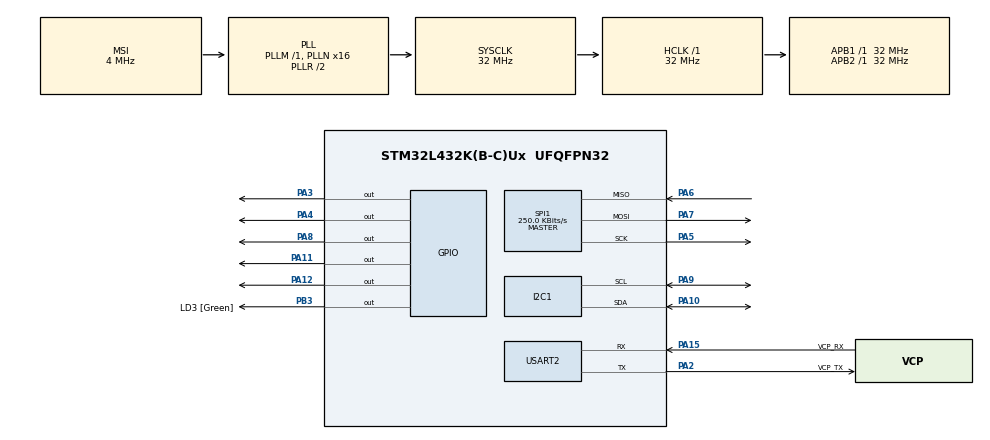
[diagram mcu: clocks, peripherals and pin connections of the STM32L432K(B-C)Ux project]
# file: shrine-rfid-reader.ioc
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I2C1.Timing=0x00B07CB4
Mcu.Family=STM32L4
Mcu.Name=STM32L432K(B-C)Ux
Mcu.Package=UFQFPN32
NVIC.I2C1_ER_IRQn=true\:0\:0\:false\:false\:true\:true\:true\:true
NVIC.I2C1_EV_IRQn=true\:0\:0\:false\:false\:true\:true\:true\:true
NVIC.PriorityGroup=NVIC_PRIORITYGROUP_4
PA0.GPIO_Label=MCO [High speed clock in]
PA0.Mode=HSE-External-Clock-Source-for-LittleOrca
PA0.Signal=RCC_CK_IN
PA10.Mode=I2C
PA10.Signal=I2C1_SDA
PA11.Signal=GPIO_Output
PA12.Signal=GPIO_Output
PA13\ (JTMS-SWDIO).GPIO_Label=SWDIO
PA13\ (JTMS-SWDIO).Mode=Serial_Wire
PA13\ (JTMS-SWDIO).Signal=SYS_JTMS-SWDIO
PA14\ (JTCK-SWCLK).GPIO_Label=SWCLK
PA14\ (JTCK-SWCLK).Mode=Serial_Wire
PA14\ (JTCK-SWCLK).Signal=SYS_JTCK-SWCLK
PA15\ (JTDI).GPIO_Label=VCP_RX
PA15\ (JTDI).Mode=Asynchronous
PA15\ (JTDI).Signal=USART2_RX
PA2.GPIO_Label=VCP_TX
PA2.Mode=Asynchronous
PA2.Signal=USART2_TX
PA3.Signal=GPIO_Output
PA4.Signal=GPIO_Output
PA5.Mode=Full_Duplex_Master
PA5.Signal=SPI1_SCK
PA6.Mode=Full_Duplex_Master
PA6.Signal=SPI1_MISO
PA7.Mode=Full_Duplex_Master
PA7.Signal=SPI1_MOSI
PA8.Signal=GPIO_Output
PA9.Mode=I2C
PA9.Signal=I2C1_SCL
PB3\ (JTDO-TRACESWO).GPIO_Label=LD3 [Green]
PB3\ (JTDO-TRACESWO).Signal=GPIO_Output
PC14-OSC32_IN\ (PC14).Mode=LSE-External-Oscillator
PC14-OSC32_IN\ (PC14).Signal=RCC_OSC32_IN
PC15-OSC32_OUT\ (PC15).Mode=LSE-External-Oscillator
PC15-OSC32_OUT\ (PC15).Signal=RCC_OSC32_OUT
ProjectManager.HeapSize=0x200
ProjectManager.StackSize=0x400
ProjectManager.TargetToolchain=STM32CubeIDE
RCC.AHBFreq_Value=32000000
RCC.APB1Freq_Value=32000000
RCC.APB1TimFreq_Value=32000000
RCC.APB2Freq_Value=32000000
RCC.APB2TimFreq_Value=32000000
RCC.CortexFreq_Value=32000000
RCC.HCLKFreq_Value=32000000
RCC.HSE_VALUE=8000000
RCC.HSI16_VALUE=16000000
RCC.HSI48_VALUE=48000000
RCC.HSI_VALUE=16000000
RCC.MSI_VALUE=4000000
RCC.PLLMUL=RCC_PLLMUL_4
RCC.PLLN=16
RCC.SYSCLKFreq_VALUE=32000000
RCC.SYSCLKSource=RCC_SYSCLKSOURCE_PLLCLK
RCC.VCOOutputFreq_Value=64000000
SPI1.BaudRatePrescaler=SPI_BAUDRATEPRESCALER_128
SPI1.CRCCalculation=SPI_CRCCALCULATION_DISABLE
SPI1.CalculateBaudRate=250.0 KBits/s
SPI1.DataSize=SPI_DATASIZE_8BIT
SPI1.Direction=SPI_DIRECTION_2LINES
SPI1.Mode=SPI_MODE_MASTER
SPI1.NSSPMode=SPI_NSS_PULSE_ENABLE
SPI1.VirtualType=VM_MASTER
USART2.VirtualMode-Asynchronous=VM_ASYNC
board=NUCLEO-L432KC

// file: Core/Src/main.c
/* USER CODE BEGIN Header */
/**
  ******************************************************************************
  * @file           : main.c
  * @brief          : Main program body
  ******************************************************************************
  * @attention
  *
  * Copyright (c) 2026 STMicroelectronics.
  * All rights reserved.
  *
  * This software is licensed under terms that can be found in the LICENSE file
  * in the root directory of this software component.
  * If no LICENSE file comes with this software, it is provided AS-IS.
  *
  ******************************************************************************
  */
/* USER CODE END Header */
#include "main.h"

/* USER CODE BEGIN Includes */
#include <string.h>
#include <stdarg.h>
#include <stdio.h>
#include "driver_mfrc522_basic.h"
#include "driver_mfrc522_interface.h"
#include "valhalla_tag.h"
#include "valhalla_led_i2c.h"

/* USER CODE END Includes */

/* USER CODE BEGIN PD */
#define MSG_MAX 256
/*
 * Optional readers 1..3: same SPI1, separate CS. Define before build, e.g. in flags:
 *   -DRC522_READER1_CS_PORT=GPIOB -DRC522_READER1_CS_PIN=GPIO_PIN_0
 * Or add #define lines below. Port NULL = slot unused.
 */

//  #define RC522_READER1_CS_PORT GPIOA
//  #define RC522_READER1_CS_PIN GPIO_PIN_3

#ifndef RC522_READER0_CS_PORT
#define RC522_READER0_CS_PORT GPIOA
#endif
#ifndef RC522_READER0_CS_PIN
#define RC522_READER0_CS_PIN GPIO_PIN_3
#endif

#ifndef RC522_READER1_CS_PORT
#define RC522_READER1_CS_PORT GPIOA
#endif
#ifndef RC522_READER1_CS_PIN
#define RC522_READER1_CS_PIN GPIO_PIN_4
#endif

#ifndef RC522_READER2_CS_PORT
#define RC522_READER2_CS_PORT GPIOA
#endif
#ifndef RC522_READER2_CS_PIN
#define RC522_READER2_CS_PIN GPIO_PIN_11
#endif

#ifndef RC522_READER3_CS_PORT
#define RC522_READER3_CS_PORT GPIOA
#endif
#ifndef RC522_READER3_CS_PIN
#define RC522_READER3_CS_PIN GPIO_PIN_12
#endif

/* User TLV area (page 4+); MF READ returns 16 bytes (4 pages) per command */
#define NTAG_USER_READ_MAX_BYTES 256U
#define NTAG_TEXT_OUT_MAX        240U
/* Last page address that can start a 4-page read (252..255) */
#define NTAG_LAST_READ_START_PAGE 252U
/* Valhalla scan result: typedef in valhalla_tag.h (must match LED I2C slave). */

typedef struct
{
  uint8_t index;
  GPIO_TypeDef *cs_port;
  uint16_t cs_pin;
  uint8_t present;
  uint32_t scan_count;
  uint32_t scan_ok_count;
} rc522_device_t;
/* USER CODE END PD */

I2C_HandleTypeDef hi2c1;

SPI_HandleTypeDef hspi1;

UART_HandleTypeDef huart2;

/* USER CODE BEGIN PV */

char msg[MSG_MAX];
static uint8_t s_rc522_log_reader = 0xFFU;
static rc522_device_t s_rc522_devices[MFRC522_INTERFACE_MAX_DEVICES];
/* Last Valhalla tag per reader index; cleared when that reader's scan fails. */
static valhallaTag s_last_valhalla_tag_by_board[MFRC522_INTERFACE_MAX_DEVICES];

/* USER CODE END PV */

void SystemClock_Config(void);
static void MX_GPIO_Init(void);
static void MX_SPI1_Init(void);
static void MX_USART2_UART_Init(void);
static void MX_I2C1_Init(void);
/* USER CODE BEGIN PFP */

uint8_t readATQA_then_halt(void);

uint8_t readNTAGPage(uint8_t page, uint8_t *buf, uint8_t *out_len);

/* USER CODE END PFP */

/* USER CODE BEGIN 0 */

static uint8_t rc522_boards_register_all(void);
static rc522_device_t *rc522_find_first_present_device(void);
static uint8_t rc522_select(rc522_device_t *dev);
static void rc522_log_reader_clear(void);
static uint8_t rc522_scan(rc522_device_t *dev, valhallaTag *out_tag);
static uint8_t scanValhallaTag(valhallaTag *out_tag);
static void scan_success_ld3_pulse_trigger(void);
static void main_debug_vprint_with_device_id(int showDeviceId, const char *const fmt, va_list args);

void main_debug_print(const char *const fmt, ...)
{
  va_list args;

  va_start(args, fmt);
  main_debug_vprint_with_device_id(1, fmt, args);
  va_end(args);
}

void main_debug_print_with_device_id(int showDeviceId, const char *const fmt, ...)
{
  va_list args;

  va_start(args, fmt);
  main_debug_vprint_with_device_id(showDeviceId, fmt, args);
  va_end(args);
}

static void main_debug_vprint_with_device_id(int showDeviceId, const char *const fmt, va_list args)
{
#ifndef NO_DEBUG_MAIN
    char str[256];
    uint16_t len;
    int off = 0;

    memset((char *)str, 0, sizeof(char) * 256);
    if (s_rc522_log_reader != 0xFFU && showDeviceId == 1)
    {
        off = snprintf(str, sizeof(str), "[R%u] ", (unsigned int)s_rc522_log_reader);
        if (off < 0)
        {
            off = 0;
        }
        if (off >= (int)sizeof(str))
        {
            off = (int)sizeof(str) - 1;
        }
    }

    (void)vsnprintf((char *)str + off, sizeof(str) - (size_t)off, (char const *)fmt, args);

    len = (uint16_t)strlen((char *)str);

    if (HAL_UART_Transmit(&huart2, (uint8_t *)str, len, MAIN_DEBUG_UART_TX_TIMEOUT_MS) != HAL_OK)
    {
      (void)HAL_UART_AbortTransmit(&huart2);
    }
#endif

}

void main_debug_print_hex(const uint8_t *buf, uint16_t len)
{
    uint16_t i;
    for (i = 0; i < len; i++)
    {
      main_debug_print_with_device_id(0, "0x%02X ", buf[i]);
    }
}

static uint8_t rc522_boards_register_all(void)
{
    static const struct
    {
        GPIO_TypeDef *cs_port;
        uint16_t cs_pin;
    } cs_table[MFRC522_INTERFACE_MAX_DEVICES] = {
        { RC522_READER0_CS_PORT, RC522_READER0_CS_PIN },
        { RC522_READER1_CS_PORT, RC522_READER1_CS_PIN },
        { RC522_READER2_CS_PORT, RC522_READER2_CS_PIN },
        { RC522_READER3_CS_PORT, RC522_READER3_CS_PIN },
    };
    uint8_t i;

    memset(s_rc522_devices, 0, sizeof(s_rc522_devices));

    for (i = 0U; i < MFRC522_INTERFACE_MAX_DEVICES; i++)
    {
        s_rc522_devices[i].index = i;
        s_rc522_devices[i].cs_port = cs_table[i].cs_port;
        s_rc522_devices[i].cs_pin = cs_table[i].cs_pin;

        if (cs_table[i].cs_port == NULL)
        {
            continue;
        }
        if (mfrc522_interface_spi_register_device(i, cs_table[i].cs_port, cs_table[i].cs_pin) != 0)
        {
            main_debug_print("main: rc522_boards_register_all: register reader %u failed.\r\n", i);
            return 1;
        }
        s_rc522_devices[i].present = 1U;
        main_debug_print("main: rc522_boards_register_all: reader %u CS registered.\r\n", i);
    }

    /* After registration, force all configured CS pins high (all readers deselected). */
    for (i = 0U; i < MFRC522_INTERFACE_MAX_DEVICES; i++)
    {
        if (s_rc522_devices[i].present == 0U)
        {
            continue;
        }
        HAL_GPIO_WritePin(cs_table[i].cs_port, cs_table[i].cs_pin, GPIO_PIN_SET);
    }
    main_debug_print("main: rc522_boards_register_all: all configured CS pins set high.\r\n");

    return 0;
}

static rc522_device_t *rc522_find_first_present_device(void)
{
    uint8_t i;

    for (i = 0U; i < MFRC522_INTERFACE_MAX_DEVICES; i++)
    {
        if (s_rc522_devices[i].present != 0U)
        {
            return &s_rc522_devices[i];
        }
    }

    return NULL;
}

static uint8_t rc522_select(rc522_device_t *dev)
{
    if (dev == NULL || dev->index >= MFRC522_INTERFACE_MAX_DEVICES || dev->present == 0U)
    {
        return 1;
    }
    if (mfrc522_interface_spi_select_device(dev->index) != 0)
    {
        return 1;
    }
    s_rc522_log_reader = dev->index;
    return 0;
}

static void rc522_log_reader_clear(void)
{
    s_rc522_log_reader = 0xFFU;
}

static uint8_t rc522_scan(rc522_device_t *dev, valhallaTag *out_tag)
{
    if (dev == NULL || out_tag == NULL)
    {
        return 1;
    }
    if (rc522_select(dev) != 0)
    {
        return 1;
    }

    dev->scan_count++;
    if (scanValhallaTag(out_tag) != 0)
    {
        return 1;
    }
    dev->scan_ok_count++;

    return 0;
}

uint16_t calcCRC(uint8_t* buf, uint16_t len)
{
  // Calc CRC bytes (note this can be done on the rc522)
  uint16_t crc = 0x6363; // Preset value for ISO 14443-3
  for (uint8_t i = 0; i < len; i++) {
      uint8_t ch = buf[i] ^ (uint8_t)(crc & 0x00FF);
      ch = ch ^ (ch << 4);
      crc = (crc >> 8) ^ ((uint16_t)ch << 8) ^ ((uint16_t)ch << 3) ^ (ch >> 4);
  }

  buf[len] = (uint8_t)(crc & 0xFF);        // CRC Low byte
  buf[len+1] = (uint8_t)((crc >> 8) & 0xFF); // CRC High byte

  return crc;
}

static void a_callback(uint16_t type)
{
    switch (type)
    {
        case MFRC522_INTERRUPT_MFIN_ACT :
        {
            main_debug_print("mfrc522: irq mfin act.\n");

            break;
        }
        case MFRC522_INTERRUPT_CRC :
        {
            break;
        }
        case MFRC522_INTERRUPT_TX :
        {
            break;
        }
        case MFRC522_INTERRUPT_RX :
        {
            break;
        }
        case MFRC522_INTERRUPT_IDLE :
        {
            break;
        }
        case MFRC522_INTERRUPT_HI_ALERT :
        {
            break;
        }
        case MFRC522_INTERRUPT_LO_ALERT :
        {
            break;
        }
        case MFRC522_INTERRUPT_ERR :
        {
            main_debug_print("mfrc522: irq err.\n");

            break;
        }
        case MFRC522_INTERRUPT_TIMER :
        {
            main_debug_print("mfrc522: irq timer.\n");

            break;
        }
        default :
        {
            main_debug_print("mfrc522: irq unknown code.\n");

            break;
        }
    }
}

void getInfo(void)
{
  mfrc522_info_t info;

  /* print mfrc522 info */
  mfrc522_info(&info);
  main_debug_print("mfrc522: chip is %s.\n", info.chip_name);
  main_debug_print("mfrc522: manufacturer is %s.\n", info.manufacturer_name);
  main_debug_print("mfrc522: interface is %s.\n", info.interface);
  main_debug_print("mfrc522: driver version is %d.%d.\n", info.driver_version / 1000, (info.driver_version % 1000) / 100);
  main_debug_print("mfrc522: min supply voltage is %0.1fV.\n", info.supply_voltage_min_v);
  main_debug_print("mfrc522: max supply voltage is %0.1fV.\n", info.supply_voltage_max_v);
  main_debug_print("mfrc522: max current is %0.2fmA.\n", info.max_current_ma);
  main_debug_print("mfrc522: max temperature is %0.1fC.\n", info.temperature_max);
  main_debug_print("mfrc522: min temperature is %0.1fC.\n", info.temperature_min);
}

// Reset is common to all boards, so needs to be done before the init for each board
uint8_t resetMfrc522()
{
	main_debug_print("main: Reset mfrc522...\r\n");

	// Hold reset low for 10ms
	if (mfrc522_interface_reset_gpio_write(0) != 0)
	{
		main_debug_print("main: reset gpio write failed.\r\n");
		return 1;
	}
	mfrc522_interface_delay_ms(10);
	if (mfrc522_interface_reset_gpio_write(1) != 0)
	{
		main_debug_print("main: reset gpio write failed.\r\n");
		return 1;
	}

	return 0;
}

uint8_t initMfrc522()
{
  uint8_t addr = 0x00;
//  rc522_device_t *first;

  main_debug_print("main: Initializing mfrc522 as SPI...\r\n");

  /* Phase 1: register every configured CS, then select first reader for basic_init. */
  if (rc522_boards_register_all() != 0)
  {
      return 1;
  }

  if (resetMfrc522() != 0) {
	  return 1;
  }

  //for (int r = 0U; r < MFRC522_INTERFACE_MAX_DEVICES; r++)
  for (int r = MFRC522_INTERFACE_MAX_DEVICES-1; r >= 0; r--)
  {
	rc522_device_t *dev = &s_rc522_devices[r];

	if (dev->present == 0U)
	{
	  continue;
	}

	if (rc522_select(dev) != 0)
	{
		 main_debug_print("main: rc522_select(dev=%d) failed.\r\n", dev->index);
		 return 1;
	}

	/* basic int */
	uint8_t res = mfrc522_basic_init(MFRC522_INTERFACE_SPI, addr, a_callback);
	if (res != 0)
	{
	  main_debug_print("main: mfrc522_basic_init(dev=%d) failed.\r\n", dev->index);
	  return 1;
	}

	main_debug_print("Initialized mfrc522 device %d.\r\n", dev->index);
  }

  return 0;
}

uint8_t getRandom(void)
{
  uint8_t res;
  uint8_t buf[25];

  main_debug_print("main: Getting random generated id...\r\n");

  /* get the random */
  memset(buf, 0, sizeof(buf));
  res = mfrc522_basic_generate_random(buf);
  if (res != 0)
  {
      main_debug_print("main: mfrc522_basic_generate_random failed.\r\n");
      return 1;
  }

  /* output */
  main_debug_print("main: Received random ID:\r\n\t");
  main_debug_print_hex(buf, 25);
  main_debug_print_with_device_id(0, "\r\n");

  return 0;
}

void getVersion(void)
{
	uint8_t res;
	uint8_t id = 0;
	uint8_t version = 0;

  main_debug_print("main: Getting version..\r\n");

  res = mfrc522_get_vesion(&id, &version);
  if (res != 0)
  {
      main_debug_print("main: mfrc522_get_vesion failed.\r\n");
      return;
  }

  main_debug_print("id: %d  version: %d\r\n", id, version);

}

uint8_t readATQA()
{
  uint8_t res;
  uint8_t command = 0x26; // receive
  uint8_t buf[64];
  uint8_t out_len;

  main_debug_print("main: Starting RF...\r\n");
  res = mfrc522_basic_start_rf();
  if (res != 0)
  {
    main_debug_print("main: Starting RF failed.\r\n");
    return 1;
  }
  main_debug_print("main: RF started.\r\n");

  HAL_Delay(500);

  main_debug_print("main: Reading ATQA...\r\n");

  memset(buf, 0, sizeof(buf));
  out_len = sizeof(buf);
  res = mfrc522_basic_transceiver(&command, 1, buf, &out_len); // out_len will be reduced if less data is returned; will not return more than initial value of out_len
  if (res != 0 || out_len == 0)
  {
      main_debug_print("main: mfrc522_basic_transceiver failed.\r\n");
      return 1;
  }

  main_debug_print("main: Received %d bytes of ATQA data: ", out_len);
  main_debug_print_hex(buf, out_len);
  main_debug_print_with_device_id(0, "\r\n");

  return 0;

}

/**
 * ISO 14443-3: WUPA (wake, expect ATQA).
 */
 uint8_t picc_wake(void)
 {
  uint8_t res;
  uint8_t buf[64];
  uint8_t out_len;
  uint8_t wupa = 0x52;

  main_debug_print("main: picc_wake: WUPA...\r\n");
  memset(buf, 0, sizeof(buf));
  out_len = sizeof(buf);
  res = mfrc522_basic_transceiver(&wupa, 1, buf, &out_len);
  if (res != 0 || out_len == 0)
  {
    main_debug_print("main: picc_wake: WUPA failed (expected ATQA bytes).\r\n");
    return 1;
  }

  main_debug_print("main: picc_wake: WUPA response (%u bytes): ", out_len);
  main_debug_print_hex(buf, out_len);
  main_debug_print_with_device_id(0, "\r\n");

  return 0;
}

/**
 * ISO 14443-3: HLTA (halt)
 * HLTA success is silent (no PICC bytes); do not treat out_len==0 as failure for HLTA.
 * Some PICCs only accept HLTA in ACTIVE after select; if HLTA fails, try after full anticollision/select.
 */
uint8_t picc_halt(void)
{
  uint8_t res;
  uint8_t buf[64];
  uint8_t out_len;
  uint8_t hlta[4];

  hlta[0] = 0x50;
  hlta[1] = 0x00;
  calcCRC(hlta, 2);

  main_debug_print("main: picc_halt: HLTA...\r\n");
  memset(buf, 0, sizeof(buf));
  out_len = sizeof(buf);
  res = mfrc522_basic_transceiver(hlta, 4, buf, &out_len);
  if (res != 0)
  {
    main_debug_print("main: picc_halt: HLTA transceive failed.\r\n");
    return 1;
  }
  main_debug_print("main: picc_halt: HLTA done (out_len=%u, expect 0).\r\n", out_len);

  main_debug_print("main: picc_halt: Stopping RF...\r\n");
  res = mfrc522_basic_stop_rf();
  if (res != 0)
  {
    main_debug_print("main: picc_halt: Stopping RF failed.\r\n");
    return 1;
  }
  main_debug_print("main: picc_halt: RF stopped.\r\n");

  return 0;
}

uint8_t readID(void)
{
  uint8_t res;
  uint8_t commandCL1[] = { 0x93, 0x20 };  // mifare anti-coll
  uint8_t commandCL1ACK[] = { 0x93, 0x70, 0x00, 0x00, 0x00, 0x00, 0x00 };  // mifare anti-coll
  uint8_t commandCL2[] = { 0x95, 0x20 };  // mifare anti-col2
  uint8_t commandCL2ACK[] = { 0x95, 0x70, 0x00, 0x00, 0x00, 0x00, 0x00 };  // mifare anti-coll
  uint8_t buf[64];
  uint8_t out_len;

  uint8_t fullId[7];

  if (0 != readATQA()) {
    return 1;
  }

  main_debug_print("main: Reading ID (CL1)...\r\n");

  memset(buf, 0, sizeof(buf));
  out_len = sizeof(buf);
  res = mfrc522_basic_transceiver(commandCL1, 2, buf, &out_len); // out_len will be reduced if less data is returned; will not return more than initial value of out_len
  if (res != 0 || out_len == 0)
  {
      main_debug_print("main: mfrc522_basic_transceiver failed.\r\n");
      return 1;
  }

  main_debug_print("main: Received %d bytes of ID (CL1) data: ", out_len);
  main_debug_print_hex(buf, out_len);
  main_debug_print_with_device_id(0, "\r\n");

  // Copy first 3 bytes of ID
  fullId[0] = buf[1];
  fullId[1] = buf[2];
  fullId[2] = buf[3];

  main_debug_print("main: ACK ID (CL1)...\r\n");

  commandCL1ACK[2] = buf[0];
  commandCL1ACK[3] = buf[1];
  commandCL1ACK[4] = buf[2];
  commandCL1ACK[5] = buf[3];
  commandCL1ACK[6] = buf[4];

  calcCRC(commandCL1ACK, 7);

  memset(buf, 0, sizeof(buf));
  out_len = sizeof(buf);

  res = mfrc522_basic_transceiver(commandCL1ACK, 9, buf, &out_len); // out_len will be reduced if less data is returned; will not return more than initial value of out_len
  if (res != 0 || out_len == 0)
  {
      main_debug_print("main: mfrc522_basic_transceiver failed.\r\n");
      return 1;
  }

  main_debug_print("main: Received %d bytes of ACK ID (CL1) data: ", out_len);
  main_debug_print_hex(buf, out_len);
  main_debug_print_with_device_id(0, "\r\n");

  main_debug_print("main: Reading ID (CL2)...\r\n");

  memset(buf, 0, sizeof(buf));
  out_len = sizeof(buf);
  res = mfrc522_basic_transceiver(commandCL2, 2, buf, &out_len); // out_len will be reduced if less data is returned; will not return more than initial value of out_len
  if (res != 0 || out_len == 0)
  {
      main_debug_print("main: mfrc522_basic_transceiver failed.\r\n");
      return 1;
  }

  main_debug_print("main: Received %d bytes of ID (CL2) data: ", out_len);
  main_debug_print_hex(buf, out_len);
  main_debug_print_with_device_id(0, "\r\n");

  // Copy remaining 5 bytes of ID
  fullId[3] = buf[0];
  fullId[4] = buf[1];
  fullId[5] = buf[2];
  fullId[6] = buf[3];

  main_debug_print("main: ACK ID (CL2)...\r\n");

  commandCL2ACK[2] = buf[0];
  commandCL2ACK[3] = buf[1];
  commandCL2ACK[4] = buf[2];
  commandCL2ACK[5] = buf[3];
  commandCL2ACK[6] = buf[4];

  calcCRC(commandCL2ACK, 7);

  memset(buf, 0, sizeof(buf));
  out_len = sizeof(buf);

  res = mfrc522_basic_transceiver(commandCL2ACK, 9, buf, &out_len); // out_len will be reduced if less data is returned; will not return more than initial value of out_len
  if (res != 0 || out_len == 0)
  {
      main_debug_print("main: mfrc522_basic_transceiver failed.\r\n");
      return 1;
  }

  main_debug_print("main: Received %d bytes of ACK ID (CL1) data: ", out_len);
  main_debug_print_hex(buf, out_len);
  main_debug_print_with_device_id(0, "\r\n");

  main_debug_print("main: Full ID: ");
  main_debug_print_hex(fullId, sizeof(fullId));
  main_debug_print_with_device_id(0, "\r\n");

  return 0;
}

/**
 * Ultralight/NTAG PICC read (0x30 + page + CRC_A). Call after anticollision/select (e.g. readID).
 * @param page  NTAG page address
 * @param buf   receive buffer; *out_len is max on entry, actual count on success
 */
uint8_t readNTAGPage(uint8_t page, uint8_t *buf, uint8_t *out_len)
{
  uint8_t res;
  uint8_t cmd[4];

  cmd[0] = 0x30; /* PICC_CMD_MF_READ */
  cmd[1] = page;
  calcCRC(cmd, 2);

  memset(buf, 0, *out_len);
  res = mfrc522_basic_transceiver(cmd, 4, buf, out_len);
  if (res != 0 || *out_len == 0)
  {
    main_debug_print("main: readNTAGPage failed.\r\n");
    return 1;
  }

  return 0;
}

/**
 * Read user TLV area in 16-byte MF READ blocks until Terminator TLV (0xFE 0x00) or buffer full.
 */
static uint8_t ntag_read_user_memory(uint8_t *mem, uint16_t max_len, uint16_t *filled)
{
  uint16_t n = 0;
  uint16_t page;

  for (page = 4; n + 16U <= max_len && page <= NTAG_LAST_READ_START_PAGE; page += 4U)
  {
    uint8_t chunk[16];
    uint8_t clen = sizeof(chunk);

    if (readNTAGPage((uint8_t)page, chunk, &clen) != 0)
    {
      return 1;
    }

    {
      uint8_t to_copy = (clen < 16U) ? clen : 16U;
      memcpy(mem + n, chunk, to_copy);
      n += to_copy;
    }

    if (clen < 16U)
    {
      break;
    }

    for (uint16_t j = 0U; j + 1U < n; j++)
    {
      if (mem[j] == 0xFEU && mem[j + 1U] == 0x00U)
      {
        n = j + 2U;
        *filled = n;
        return 0;
      }
    }
  }

  *filled = n;
  return 0;
}

/**
 * Walk Type 2 TLVs; return first NDEF Message (0x03) value.
 */
static int ntag_find_ndef_message(const uint8_t *mem, uint16_t len,
                                  const uint8_t **ndef_out, uint16_t *ndef_len_out)
{
  uint16_t i = 0;

  while (i + 2U <= len)
  {
    uint8_t t = mem[i];

    if (t == 0xFEU)
    {
      return -1;
    }

    if (t == 0x00U)
    {
      i += 2U;
      continue;
    }

    if (i + 1U >= len)
    {
      return -1;
    }

    {
      uint32_t L;
      uint16_t voff;

      if (mem[i + 1U] == 0xFFU)
      {
        if (i + 5U > len)
        {
          return -1;
        }
        L = ((uint32_t)mem[i + 2U] << 16) | ((uint32_t)mem[i + 3U] << 8) | (uint32_t)mem[i + 4U];
        voff = i + 5U;
      }
      else
      {
        L = mem[i + 1U];
        voff = i + 2U;
      }

      if (t == 0x03U)
      {
        if (voff + L > len)
        {
          return -1;
        }
        *ndef_out = mem + voff;
        *ndef_len_out = (uint16_t)L;
        return 0;
      }

      if (voff + L > len)
      {
        return -1;
      }
      i = voff + (uint16_t)L;
    }
  }

  return -1;
}

/**
 * First NFC Forum well-known Text record ('T') in an NDEF message; UTF-8 payload only.
 */
static int ntag_parse_first_text_record(const uint8_t *ndef, uint16_t ndef_len,
                                        char *text_out, uint16_t text_cap,
                                        char *lang_out, uint16_t lang_cap)
{
  uint16_t i = 0;

  if (lang_out != NULL && lang_cap > 0U)
  {
    lang_out[0] = '\0';
  }

  while (i + 3U <= ndef_len)
  {
    uint8_t flags = ndef[i];
    uint8_t tnf = flags & 0x07U;
    uint8_t sr = (flags >> 4) & 1U;
    uint8_t il = (flags >> 3) & 1U;
    uint8_t type_len = ndef[i + 1U];
    uint32_t plen;
    uint16_t pos = i + 2U;

    if (sr != 0U)
    {
      if (pos >= ndef_len)
      {
        return -1;
      }
      plen = ndef[pos];
      pos++;
    }
    else
    {
      if (pos + 4U > ndef_len)
      {
        return -1;
      }
      plen = ((uint32_t)ndef[pos] << 24) | ((uint32_t)ndef[pos + 1U] << 16)
           | ((uint32_t)ndef[pos + 2U] << 8) | (uint32_t)ndef[pos + 3U];
      pos += 4U;
    }

    {
      uint8_t id_len = 0U;
      if (il != 0U)
      {
        if (pos >= ndef_len)
        {
          return -1;
        }
        id_len = ndef[pos++];
      }

      if (pos + type_len > ndef_len)
      {
        return -1;
      }

      {
        const uint8_t *type_ptr = ndef + pos;
        pos += type_len;
        if (pos + id_len > ndef_len)
        {
          return -1;
        }
        pos += id_len;
        if (pos + plen > ndef_len)
        {
          return -1;
        }

        {
          const uint8_t *payload = ndef + pos;
          pos += (uint16_t)plen;

          if (tnf == 0x01U && type_len == 1U && type_ptr[0] == (uint8_t)'T')
          {
            if (plen == 0U)
            {
              return -1;
            }

            {
              uint8_t status = payload[0];
              uint8_t lang_len = status & 0x3FU;

              if ((status & 0x80U) != 0U)
              {
                /* UTF-16; skip, try next record */
                i = pos;
                continue;
              }

              if (plen < (uint32_t)(1U + lang_len))
              {
                return -1;
              }

              if (lang_out != NULL && lang_cap > 0U)
              {
                uint16_t copy = lang_len;
                if (copy >= lang_cap)
                {
                  copy = (uint16_t)(lang_cap - 1U);
                }
                memcpy(lang_out, payload + 1U, copy);
                lang_out[copy] = '\0';
              }

              {
                uint16_t text_len = (uint16_t)(plen - 1U - (uint32_t)lang_len);
                if (text_len + 1U > text_cap)
                {
                  return -1;
                }
                memcpy(text_out, payload + 1U + lang_len, text_len);
                text_out[text_len] = '\0';
              }

              return 0;
            }
          }
        }

        i = pos;
      }
    }
  }

  return -1;
}

static void trim_ascii(char *s)
{
  size_t len;

  /* trim leading whitespace */
  while ((s[0] == ' ') || (s[0] == '\t') || (s[0] == '\r') || (s[0] == '\n'))
  {
    memmove(s, s + 1, strlen(s));
  }

  len = strlen(s);
  while (len > 0U)
  {
    char c = s[len - 1U];
    if ((c == ' ') || (c == '\t') || (c == '\r') || (c == '\n'))
    {
      s[len - 1U] = '\0';
      len--;
      continue;
    }
    break;
  }
}

static int parse_valhalla_csv_text(const char *csv_text_in, valhallaTag *out_tag)
{
  char csv[NTAG_TEXT_OUT_MAX + 1U];
  char *c1;
  char *c2;
  char *c3;

  if ((csv_text_in == NULL) || (out_tag == NULL))
  {
    return -1;
  }

  memset(out_tag, 0, sizeof(*out_tag));
  strncpy(csv, csv_text_in, sizeof(csv) - 1U);
  csv[sizeof(csv) - 1U] = '\0';

  c1 = strchr(csv, ',');
  if (c1 == NULL)
  {
    return -1;
  }
  c2 = strchr(c1 + 1, ',');
  if (c2 == NULL)
  {
    return -1;
  }
  c3 = strchr(c2 + 1, ',');
  if (c3 == NULL)
  {
    return -1;
  }

  *c1 = '\0';
  *c2 = '\0';
  *c3 = '\0';

  trim_ascii(csv);
  trim_ascii(c1 + 1U);
  trim_ascii(c2 + 1U);
  trim_ascii(c3 + 1U);

  if (strlen(csv) != 1U)
  {
    return -1;
  }
  out_tag->type = csv[0];

  if (strlen(c1 + 1U) != 2U)
  {
    return -1;
  }
  if (strlen(c2 + 1U) != 2U)
  {
    return -1;
  }
  if (strlen(c3 + 1U) != 2U)
  {
    return -1;
  }

  strncpy(out_tag->camp, c1 + 1U, sizeof(out_tag->camp) - 1U);
  out_tag->camp[sizeof(out_tag->camp) - 1U] = '\0';

  strncpy(out_tag->color, c2 + 1U, sizeof(out_tag->color) - 1U);
  out_tag->color[sizeof(out_tag->color) - 1U] = '\0';

  strncpy(out_tag->rune, c3 + 1U, sizeof(out_tag->rune) - 1U);
  out_tag->rune[sizeof(out_tag->rune) - 1U] = '\0';

  return 0;
}

static uint8_t scanValhallaTag(valhallaTag *out_tag)
{
  uint8_t mem[NTAG_USER_READ_MAX_BYTES];
  uint16_t filled = 0;
  const uint8_t *ndef = NULL;
  uint16_t ndef_len = 0;
  char text[NTAG_TEXT_OUT_MAX + 1U];
  char lang[8];

  if (out_tag == NULL)
  {
    return 1;
  }

  memset(mem, 0, sizeof(mem));

  /* NTAG read requires ATQA + anticollision + cascade select first */
  if (readID() != 0)
  {
    return 1;
  }

  main_debug_print("main: Reading NTAG user memory (TLV / NDEF)...\r\n");
  if (ntag_read_user_memory(mem, (uint16_t)sizeof(mem), &filled) != 0)
  {
    return 1;
  }

  main_debug_print("main: Raw user area (%u bytes): ", filled);
  main_debug_print_hex(mem, filled);
  main_debug_print_with_device_id(0, "\r\n");

  if (ntag_find_ndef_message(mem, filled, &ndef, &ndef_len) != 0)
  {
    main_debug_print("main: No NDEF Message TLV (0x03) or incomplete data.\r\n");
    return 1;
  }

  main_debug_print("main: NDEF message length %u bytes.\r\n", ndef_len);

  if (ntag_parse_first_text_record(ndef, ndef_len, text, NTAG_TEXT_OUT_MAX, lang, sizeof(lang)) != 0)
  {
    main_debug_print("main: No NFC Forum Text record ('T') in NDEF message.\r\n");
    return 1;
  }

  main_debug_print("main: NDEF Text language: \"%s\"\r\n", lang);
  main_debug_print("main: NDEF Text payload: \"%s\"\r\n", text);

  if (parse_valhalla_csv_text(text, out_tag) != 0)
  {
    main_debug_print("main: Valhalla text is not compliant (expected: type,camp,color,rune with field limits). Ignoring scan.\r\n");
    return 1;
  }

  return 0;
}

#define SCAN_SUCCESS_LD3_PULSE_DURATION_MS    500U
#define SCAN_SUCCESS_LD3_PULSE_TOGGLE_MS    40U

static volatile uint32_t s_ld3_scan_pulse_deadline_tick;
static volatile uint32_t s_ld3_scan_pulse_next_toggle_tick;

uint8_t ScanSuccessLd3Pulse_IsActive(void)
{
  return (s_ld3_scan_pulse_deadline_tick != 0U) ? 1U : 0U;
}

void ScanSuccessLd3Pulse_SysTickHook(void)
{
  uint32_t deadline;
  uint32_t now;

  deadline = s_ld3_scan_pulse_deadline_tick;
  if (deadline == 0U)
  {
    return;
  }

  now = HAL_GetTick();
  if ((int32_t)(now - deadline) >= 0)
  {
    s_ld3_scan_pulse_deadline_tick      = 0U;
    s_ld3_scan_pulse_next_toggle_tick   = 0U;
    HAL_GPIO_WritePin(LD3_GPIO_Port, LD3_Pin, GPIO_PIN_RESET);
    return;
  }

  if ((int32_t)(now - s_ld3_scan_pulse_next_toggle_tick) >= 0)
  {
    HAL_GPIO_TogglePin(LD3_GPIO_Port, LD3_Pin);
    s_ld3_scan_pulse_next_toggle_tick = now + SCAN_SUCCESS_LD3_PULSE_TOGGLE_MS;
  }
}

static void scan_success_ld3_pulse_trigger(void)
{
  uint32_t n = HAL_GetTick();

  s_ld3_scan_pulse_deadline_tick    = n + SCAN_SUCCESS_LD3_PULSE_DURATION_MS;
  s_ld3_scan_pulse_next_toggle_tick = n;
}

uint8_t readNTAG(void)
{
  rc522_device_t *dev;
  valhallaTag tag;

  if (s_rc522_log_reader == 0xFFU || s_rc522_log_reader >= MFRC522_INTERFACE_MAX_DEVICES)
  {
    main_debug_print("main: readNTAG: no active reader selected.\r\n");
    return 1;
  }
  dev = &s_rc522_devices[s_rc522_log_reader];

  memset(&tag, 0, sizeof(tag));
  if (rc522_scan(dev, &tag) != 0)
  {
    memset(&s_last_valhalla_tag_by_board[dev->index], 0, sizeof(valhallaTag));
    return 1;
  }

  s_last_valhalla_tag_by_board[dev->index] = tag;

  main_debug_print("main: ValhallaTag => type='%c', camp=\"%s\", color=\"%s\", rune=\"%s\"",
                    tag.type, tag.camp, tag.color, tag.rune);
  main_debug_print_with_device_id(0, "\r\n\r\n\r\n");

  valhalla_led_i2c_push_if_changed();

  scan_success_ld3_pulse_trigger();

  return 0;
}

/* USER CODE END 0 */

int main(void)
{

  /* MCU Configuration--------------------------------------------------------*/

  /* Reset of all peripherals, Initializes the Flash interface and the Systick. */
  HAL_Init();

  /* Configure the system clock */
  SystemClock_Config();

  /* Initialize all configured peripherals */
  MX_GPIO_Init();
  MX_SPI1_Init();
  MX_USART2_UART_Init();
  MX_I2C1_Init();
  /* USER CODE BEGIN 2 */

  snprintf(msg, MSG_MAX, "Startup\r\n");
  if (HAL_UART_Transmit(&huart2, (uint8_t *)msg, strlen(msg), MAIN_DEBUG_UART_TX_TIMEOUT_MS) != HAL_OK)
  {
    (void)HAL_UART_AbortTransmit(&huart2);
  }

  valhalla_led_i2c_init(&hi2c1, (const uint8_t *)s_last_valhalla_tag_by_board,
                        sizeof(s_last_valhalla_tag_by_board));

  getInfo();

  /* USER CODE END 2 */

  /* Infinite loop */
  /* USER CODE BEGIN WHILE */
  while (0 != initMfrc522()) {
    // Retry init every 5 seconds
    HAL_Delay(5000);
  }

  int i = 0;
  while (1)
  {
    /* USER CODE END WHILE */

    /* USER CODE BEGIN 3 */
    uint8_t r;
    uint8_t any_reader_scan_ok = 0U;

    /* LD3 heartbeat — skip toggles while scan-success ISR pulse owns the pin (~500 ms). */
    if (ScanSuccessLd3Pulse_IsActive() == 0U)
    {
      HAL_GPIO_TogglePin(LD3_GPIO_Port, LD3_Pin);
      HAL_Delay(100);
      HAL_GPIO_TogglePin(LD3_GPIO_Port, LD3_Pin);
    }
    HAL_Delay(1000);

    snprintf(msg, MSG_MAX, "\r\nLoop: %d\r\n", ++i);
    if (HAL_UART_Transmit(&huart2, (uint8_t *)msg, strlen(msg), MAIN_DEBUG_UART_TX_TIMEOUT_MS) != HAL_OK)
    {
      (void)HAL_UART_AbortTransmit(&huart2);
    }

//    getVersion();

//    getRandom();

//    readATQA();

//    readID();

    /* Round-robin: each configured reader gets a scan on the shared SPI bus. */
    for (r = 0U; r < MFRC522_INTERFACE_MAX_DEVICES; r++)
    {
      rc522_device_t *dev = &s_rc522_devices[r];
      valhallaTag tag;

      if (dev->present == 0U)
      {
        continue;
      }
      memset(&tag, 0, sizeof(tag));
      if (rc522_scan(dev, &tag) != 0)
      {
        main_debug_print("main: loop: rc522_scan(reader=%u) failed.\r\n", dev->index);
        memset(&s_last_valhalla_tag_by_board[dev->index], 0, sizeof(valhallaTag));
        continue;
      }

      s_last_valhalla_tag_by_board[dev->index] = tag;
      any_reader_scan_ok = 1U;

      main_debug_print("main: ValhallaTag => type='%c', camp=\"%s\", color=\"%s\", rune=\"%s\"",
                      tag.type, tag.camp, tag.color, tag.rune);
      main_debug_print_with_device_id(0, "\r\n");

      (void)picc_halt();
    }
    rc522_log_reader_clear();

    main_debug_print("main: last tag snapshot by board:\r\n");
    for (r = 0U; r < MFRC522_INTERFACE_MAX_DEVICES; r++)
    {
      const valhallaTag *t;

      if (s_rc522_devices[r].present == 0U)
      {
        continue;
      }
      t = &s_last_valhalla_tag_by_board[r];

      if (t->type == 0)
      {
        main_debug_print("main: [R%u] no tag found\r\n", (unsigned int)r);
      }
      else {
        main_debug_print(
          "main: [R%u] type='%c', camp=\"%s\", color=\"%s\", rune=\"%s\"\r\n",
          (unsigned int)r,
          t->type,
          t->camp,
          t->color,
          t->rune);
      }
    }

    valhalla_led_i2c_push_if_changed();

    if (any_reader_scan_ok != 0U)
    {
      scan_success_ld3_pulse_trigger();
    }

  }
  /* USER CODE END 3 */
}

void SystemClock_Config(void)
{
  RCC_OscInitTypeDef RCC_OscInitStruct = {0};
  RCC_ClkInitTypeDef RCC_ClkInitStruct = {0};

  /** Configure the main internal regulator output voltage
  */
  if (HAL_PWREx_ControlVoltageScaling(PWR_REGULATOR_VOLTAGE_SCALE1) != HAL_OK)
  {
    Error_Handler();
  }

  /** Configure LSE Drive Capability
  */
  HAL_PWR_EnableBkUpAccess();
  __HAL_RCC_LSEDRIVE_CONFIG(RCC_LSEDRIVE_LOW);

  /** Initializes the RCC Oscillators according to the specified parameters
  * in the RCC_OscInitTypeDef structure.
  */
  RCC_OscInitStruct.OscillatorType = RCC_OSCILLATORTYPE_LSE|RCC_OSCILLATORTYPE_MSI;
  RCC_OscInitStruct.LSEState = RCC_LSE_ON;
  RCC_OscInitStruct.MSIState = RCC_MSI_ON;
  RCC_OscInitStruct.MSICalibrationValue = 0;
  RCC_OscInitStruct.MSIClockRange = RCC_MSIRANGE_6;
  RCC_OscInitStruct.PLL.PLLState = RCC_PLL_ON;
  RCC_OscInitStruct.PLL.PLLSource = RCC_PLLSOURCE_MSI;
  RCC_OscInitStruct.PLL.PLLM = 1;
  RCC_OscInitStruct.PLL.PLLN = 16;
  RCC_OscInitStruct.PLL.PLLP = RCC_PLLP_DIV7;
  RCC_OscInitStruct.PLL.PLLQ = RCC_PLLQ_DIV2;
  RCC_OscInitStruct.PLL.PLLR = RCC_PLLR_DIV2;
  if (HAL_RCC_OscConfig(&RCC_OscInitStruct) != HAL_OK)
  {
    Error_Handler();
  }

  /** Initializes the CPU, AHB and APB buses clocks
  */
  RCC_ClkInitStruct.ClockType = RCC_CLOCKTYPE_HCLK|RCC_CLOCKTYPE_SYSCLK
                              |RCC_CLOCKTYPE_PCLK1|RCC_CLOCKTYPE_PCLK2;
  RCC_ClkInitStruct.SYSCLKSource = RCC_SYSCLKSOURCE_PLLCLK;
  RCC_ClkInitStruct.AHBCLKDivider = RCC_SYSCLK_DIV1;
  RCC_ClkInitStruct.APB1CLKDivider = RCC_HCLK_DIV1;
  RCC_ClkInitStruct.APB2CLKDivider = RCC_HCLK_DIV1;

  if (HAL_RCC_ClockConfig(&RCC_ClkInitStruct, FLASH_LATENCY_1) != HAL_OK)
  {
    Error_Handler();
  }

  /** Enable MSI Auto calibration
  */
  HAL_RCCEx_EnableMSIPLLMode();
}

static void MX_I2C1_Init(void)
{

  hi2c1.Instance = I2C1;
  hi2c1.Init.Timing = 0x00B07CB4;
  hi2c1.Init.OwnAddress1 = 0;
  hi2c1.Init.AddressingMode = I2C_ADDRESSINGMODE_7BIT;
  hi2c1.Init.DualAddressMode = I2C_DUALADDRESS_DISABLE;
  hi2c1.Init.OwnAddress2 = 0;
  hi2c1.Init.OwnAddress2Masks = I2C_OA2_NOMASK;
  hi2c1.Init.GeneralCallMode = I2C_GENERALCALL_DISABLE;
  hi2c1.Init.NoStretchMode = I2C_NOSTRETCH_DISABLE;
  if (HAL_I2C_Init(&hi2c1) != HAL_OK)
  {
    Error_Handler();
  }

  /** Configure Analogue filter
  */
  if (HAL_I2CEx_ConfigAnalogFilter(&hi2c1, I2C_ANALOGFILTER_ENABLE) != HAL_OK)
  {
    Error_Handler();
  }

  /** Configure Digital filter
  */
  if (HAL_I2CEx_ConfigDigitalFilter(&hi2c1, 0) != HAL_OK)
  {
    Error_Handler();
  }

}

static void MX_SPI1_Init(void)
{

  /* SPI1 parameter configuration*/
  hspi1.Instance = SPI1;
  hspi1.Init.Mode = SPI_MODE_MASTER;
  hspi1.Init.Direction = SPI_DIRECTION_2LINES;
  hspi1.Init.DataSize = SPI_DATASIZE_8BIT;
  hspi1.Init.CLKPolarity = SPI_POLARITY_LOW;
  hspi1.Init.CLKPhase = SPI_PHASE_1EDGE;
  hspi1.Init.NSS = SPI_NSS_SOFT;
  hspi1.Init.BaudRatePrescaler = SPI_BAUDRATEPRESCALER_128;
  hspi1.Init.FirstBit = SPI_FIRSTBIT_MSB;
  hspi1.Init.TIMode = SPI_TIMODE_DISABLE;
  hspi1.Init.CRCCalculation = SPI_CRCCALCULATION_DISABLE;
  hspi1.Init.CRCPolynomial = 7;
  hspi1.Init.CRCLength = SPI_CRC_LENGTH_DATASIZE;
  hspi1.Init.NSSPMode = SPI_NSS_PULSE_ENABLE;
  if (HAL_SPI_Init(&hspi1) != HAL_OK)
  {
    Error_Handler();
  }

}

static void MX_USART2_UART_Init(void)
{

  huart2.Instance = USART2;
  huart2.Init.BaudRate = 115200;
  huart2.Init.WordLength = UART_WORDLENGTH_8B;
  huart2.Init.StopBits = UART_STOPBITS_1;
  huart2.Init.Parity = UART_PARITY_NONE;
  huart2.Init.Mode = UART_MODE_TX_RX;
  huart2.Init.HwFlowCtl = UART_HWCONTROL_NONE;
  huart2.Init.OverSampling = UART_OVERSAMPLING_16;
  huart2.Init.OneBitSampling = UART_ONE_BIT_SAMPLE_DISABLE;
  huart2.AdvancedInit.AdvFeatureInit = UART_ADVFEATURE_NO_INIT;
  if (HAL_UART_Init(&huart2) != HAL_OK)
  {
    Error_Handler();
  }

}

static void MX_GPIO_Init(void)
{
  GPIO_InitTypeDef GPIO_InitStruct = {0};

  /* GPIO Ports Clock Enable */
  __HAL_RCC_GPIOC_CLK_ENABLE();
  __HAL_RCC_GPIOA_CLK_ENABLE();
  __HAL_RCC_GPIOB_CLK_ENABLE();

  /*Configure GPIO pin Output Level */
  HAL_GPIO_WritePin(GPIOA, GPIO_PIN_3|GPIO_PIN_4|GPIO_PIN_8|GPIO_PIN_11
                          |GPIO_PIN_12, GPIO_PIN_RESET);

  /*Configure GPIO pin Output Level */
  HAL_GPIO_WritePin(LD3_GPIO_Port, LD3_Pin, GPIO_PIN_RESET);

  /*Configure GPIO pins : PA3 PA4 PA8 PA11
                           PA12 */
  GPIO_InitStruct.Pin = GPIO_PIN_3|GPIO_PIN_4|GPIO_PIN_8|GPIO_PIN_11
                          |GPIO_PIN_12;
  GPIO_InitStruct.Mode = GPIO_MODE_OUTPUT_PP;
  GPIO_InitStruct.Pull = GPIO_NOPULL;
  GPIO_InitStruct.Speed = GPIO_SPEED_FREQ_LOW;
  HAL_GPIO_Init(GPIOA, &GPIO_InitStruct);

  /*Configure GPIO pin : LD3_Pin */
  GPIO_InitStruct.Pin = LD3_Pin;
  GPIO_InitStruct.Mode = GPIO_MODE_OUTPUT_PP;
  GPIO_InitStruct.Pull = GPIO_NOPULL;
  GPIO_InitStruct.Speed = GPIO_SPEED_FREQ_LOW;
  HAL_GPIO_Init(LD3_GPIO_Port, &GPIO_InitStruct);

}

void Error_Handler(void)
{
  /* USER CODE BEGIN Error_Handler_Debug */
  /* User can add his own implementation to report the HAL error return state */
  __disable_irq();

  /* basic deinit */
  mfrc522_basic_deinit();

  while (1)
  {
  }
  /* USER CODE END Error_Handler_Debug */
}
